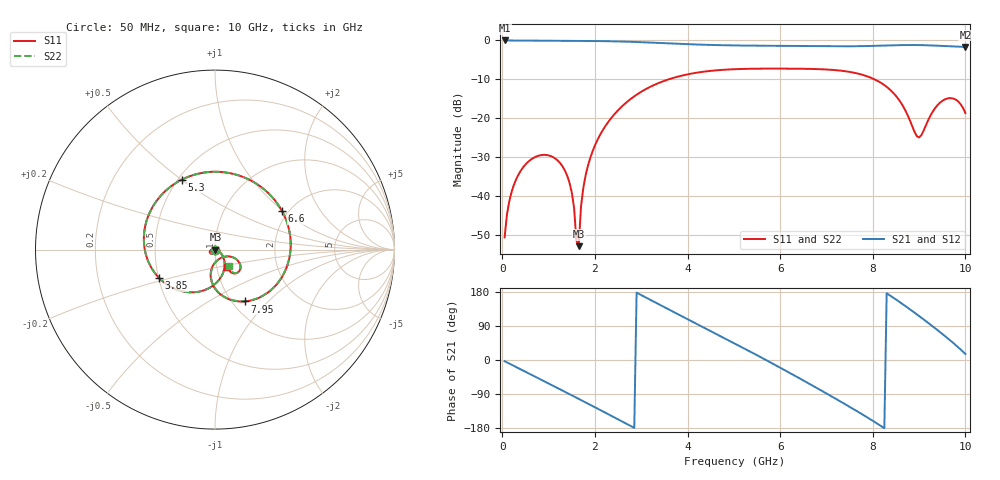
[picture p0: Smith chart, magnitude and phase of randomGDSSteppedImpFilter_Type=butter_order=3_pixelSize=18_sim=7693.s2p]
! freq	dB(S11)	phase(S11)	dB(S12)	phase(S12)
!  dB(S21)	phase(S21)	dB(S22)	phase(S22)
!S-par simulation data
#  GHz  S  DB  R 50
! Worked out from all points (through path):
!   200 points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, 50 MHz to 10 GHz, reference 50 ohm
!   highest |S21| = -0.01 dB at 50 MHz (marker M1); lowest = -1.7 dB at 10 GHz (marker M2)
!   group delay of S21, straight-line fit = 188 ps
!   lowest |S11| = -52.9 dB at 1.65 GHz (marker M3), VSWR 1.00, Z = 50.2 + j0.0196 ohm
!   |S11| at or under -10 dB: start of sweep to 3.596 GHz; 8.034 GHz to end of sweep
!   |S22| runs from -52.5 to -7.3 dB; largest |S21 - S12| = 0
!   S11 on the Smith chart (normalised r, x): 50 MHz: 1.00, -0.01; 3.85 GHz: 0.50, -0.18; 5.3 GHz: 0.52, +0.50; 6.6 GHz: 1.86, +0.98; 7.95 GHz: 1.14, -0.74; 10 GHz: 1.12, -0.22
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0.05  -50.69 -84.0  -0.01 -3.1  -0.01 -3.1  -50.69 -84.0
0.15  -41.44 -96.0  -0.02 -9.4  -0.02 -9.4  -41.44 -96.0
0.35  -34.51 -110.8  -0.03 -21.8  -0.03 -21.8  -34.51 -110.9
0.95  -29.48 -149.9  -0.08 -58.9  -0.08 -58.9  -29.47 -150.2
1.4  -34.78 -179.2  -0.10 -86.9  -0.10 -86.9  -34.75 179.9
1.65  -52.95 5.0  -0.12 -102.5  -0.12 -102.5  -52.53 17.0
1.75  -37.93 -17.1  -0.13 -108.8  -0.13 -108.8  -37.96 -15.0
2.3  -20.78 -54.3  -0.21 -143.8  -0.21 -143.8  -20.79 -53.8
3.4  -10.85 -124.8  -0.65 145.8  -0.65 145.8  -10.85 -124.5
3.85  -9.14 -153.1  -0.89 117.3  -0.89 117.3  -9.14 -152.8
5.05  -7.38 131.5  -1.29 41.7  -1.29 41.7  -7.39 131.9
5.3  -7.30 115.5  -1.33 25.7  -1.33 25.7  -7.31 115.8
5.95  -7.25 73.1  -1.39 -16.9  -1.39 -16.9  -7.26 73.5
6.6  -7.31 29.9  -1.47 -60.7  -1.47 -60.7  -7.32 30.4
6.7  -7.34 23.2  -1.48 -67.6  -1.48 -67.6  -7.34 23.7
7.3  -7.77 -16.8  -1.52 -109.3  -1.52 -109.3  -7.77 -16.3
7.95  -9.56 -60.2  -1.42 -156.6  -1.42 -156.6  -9.55 -59.7
8.35  -12.44 -85.8  -1.28 172.1  -1.28 172.1  -12.42 -85.2
8.95  -24.63 -73.8  -1.19 120.6  -1.19 120.6  -24.47 -73.1
9.25  -19.24 -23.3  -1.28 92.9  -1.28 92.9  -19.22 -23.1
9.65  -14.86 -41.6  -1.49 54.0  -1.49 54.0  -14.83 -40.4
10  -18.69 -54.4  -1.70 15.8  -1.70 15.8  -18.39 -51.3
